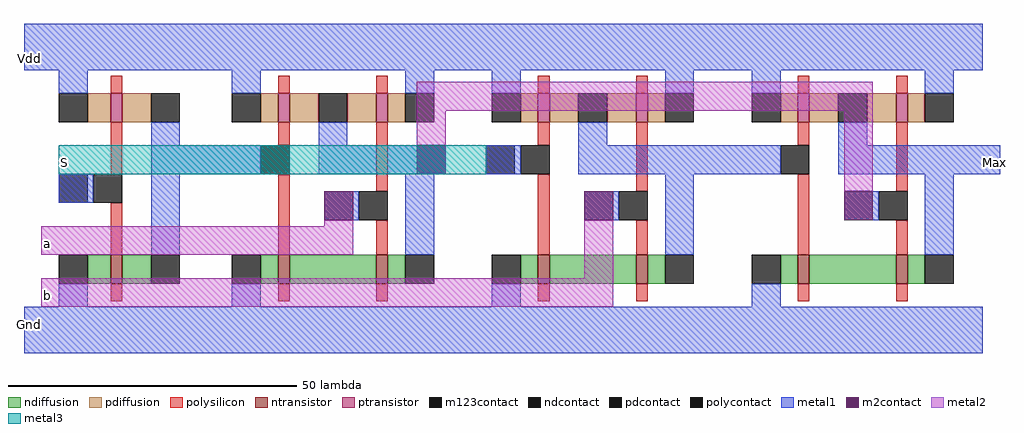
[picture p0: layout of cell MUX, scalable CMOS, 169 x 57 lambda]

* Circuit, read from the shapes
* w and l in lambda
.subckt MUX Gnd Max S Vdd a b
M1 n1 S Gnd VSUBS nfet w=5 l=2
M2 n2 n1 Gnd VSUBS nfet w=5 l=2
M3 n3 a n2 VSUBS nfet w=5 l=2
M4 n4 S Gnd VSUBS nfet w=5 l=2
M5 n5 b n4 VSUBS nfet w=5 l=2
M6 n6 n5 Gnd VSUBS nfet w=5 l=2
M7 Max n3 n6 VSUBS nfet w=5 l=2
M8 n1 S Vdd NWELL pfet w=5 l=2
M9 n3 n1 Vdd NWELL pfet w=5 l=2
M10 Vdd a n3 NWELL pfet w=5 l=2
M11 n5 S Vdd NWELL pfet w=5 l=2
M12 Vdd b n5 NWELL pfet w=5 l=2
M13 Max n5 Vdd NWELL pfet w=5 l=2
M14 Vdd n3 Max NWELL pfet w=5 l=2
.ends

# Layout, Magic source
magic
tech scmos
<< metal1 >>
rect -36 46 130 49
rect -36 41 -33 46
rect -14 23 0 28
rect 77 23 91 28
rect 125 23 133 28
rect -36 -4 -33 0
rect -36 -8 130 -4
<< m2contact >>
rect 32 23 37 28
rect 16 15 21 20
rect 61 15 66 20
rect 106 15 111 20
<< metal2 >>
rect 32 34 111 39
rect 32 28 37 34
rect 106 20 111 34
rect 16 14 21 15
rect -33 9 21 14
rect 61 5 66 15
rect -33 0 66 5
<< m123contact >>
rect 44 23 49 28
rect -30 18 -25 23
<< metal3 >>
rect -30 23 44 28
use 2inv  2inv_0
transform 1 0 -540 0 1 -13
box 506 8 535 59
use 2NAND  2NAND_0
array 0 2 45 0 0 51
transform 1 0 14 0 1 34
box -19 -39 26 12
<< labels >>
rlabel metal2 -32 11 -32 11 3 a
rlabel metal2 -32 2 -32 2 3 b
rlabel metal3 -29 25 -29 25 3 S
rlabel metal1 132 25 132 25 7 Max
rlabel metal1 -35 43 -35 43 4 Vdd
rlabel metal1 -35 -3 -35 -3 2 Gnd
<< end >>

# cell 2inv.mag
magic
tech scmos
<< ntransistor >>
rect 519 17 521 22
<< ptransistor >>
rect 519 45 521 50
<< ndiffusion >>
rect 515 17 519 22
rect 521 17 526 22
<< pdiffusion >>
rect 515 45 519 50
rect 521 45 526 50
<< ndcontact >>
rect 510 17 515 22
rect 526 17 531 22
<< pdcontact >>
rect 510 45 515 50
rect 526 45 531 50
<< polysilicon >>
rect 519 50 521 53
rect 519 36 521 45
rect 519 22 521 31
rect 519 14 521 17
<< polycontact >>
rect 516 31 521 36
<< metal1 >>
rect 506 54 535 59
rect 510 50 515 54
rect 510 31 516 36
rect 526 22 531 45
rect 510 13 515 17
rect 506 8 535 13
<< end >>

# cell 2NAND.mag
magic
tech scmos
<< ntransistor >>
rect -6 -30 -4 -25
rect 11 -30 13 -25
<< ptransistor >>
rect -6 -2 -4 3
rect 11 -2 13 3
<< ndiffusion >>
rect -9 -30 -6 -25
rect -4 -30 11 -25
rect 13 -30 16 -25
<< pdiffusion >>
rect -9 -2 -6 3
rect -4 -2 1 3
rect 6 -2 11 3
rect 13 -2 16 3
<< ndcontact >>
rect -14 -30 -9 -25
rect 16 -30 21 -25
<< pdcontact >>
rect -14 -2 -9 3
rect 1 -2 6 3
rect 16 -2 21 3
<< polysilicon >>
rect -6 3 -4 6
rect 11 3 13 6
rect -6 -6 -4 -2
rect -6 -25 -4 -11
rect 11 -14 13 -2
rect 11 -25 13 -19
rect -6 -33 -4 -30
rect 11 -33 13 -30
<< polycontact >>
rect -9 -11 -4 -6
rect 8 -19 13 -14
<< metal1 >>
rect -19 7 26 12
rect -14 3 -9 7
rect 16 3 21 7
rect 1 -6 6 -2
rect -15 -11 -9 -6
rect 1 -11 23 -6
rect 2 -19 8 -14
rect 16 -25 21 -11
rect -14 -34 -9 -30
rect -19 -39 26 -34
<< end >>
